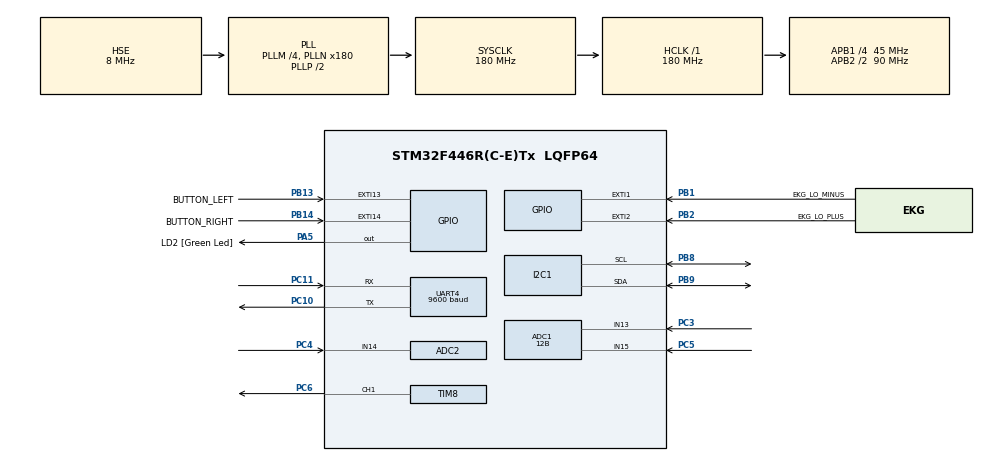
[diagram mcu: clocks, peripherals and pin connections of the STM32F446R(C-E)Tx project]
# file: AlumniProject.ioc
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ADC1.Channel-0\#ChannelRegularConversion=ADC_CHANNEL_15
ADC1.Channel-1\#ChannelRegularConversion=ADC_CHANNEL_13
ADC1.ClockPrescaler=ADC_CLOCK_SYNC_PCLK_DIV4
ADC1.ContinuousConvMode=DISABLE
ADC1.DMAContinuousRequests=ENABLE
ADC1.DataAlign=ADC_DATAALIGN_RIGHT
ADC1.DiscontinuousConvMode=DISABLE
ADC1.EOCSelection=ADC_EOC_SINGLE_CONV
ADC1.EnableAnalogWatchDog=false
ADC1.ExternalTrigConv=ADC_EXTERNALTRIGCONV_T8_TRGO
ADC1.ExternalTrigConvEdge=ADC_EXTERNALTRIGCONVEDGE_RISING
ADC1.InjNumberOfConversion=0
ADC1.NbrOfConversion=2
ADC1.NbrOfConversionFlag=1
ADC1.Rank-0\#ChannelRegularConversion=1
ADC1.Rank-1\#ChannelRegularConversion=2
ADC1.Resolution=ADC_RESOLUTION_12B
ADC1.SamplingTime-0\#ChannelRegularConversion=ADC_SAMPLETIME_3CYCLES
ADC1.SamplingTime-1\#ChannelRegularConversion=ADC_SAMPLETIME_3CYCLES
ADC1.ScanConvMode=ENABLE
ADC1.master=1
ADC2.Channel-8\#ChannelRegularConversion=ADC_CHANNEL_14
ADC2.ClockPrescaler=ADC_CLOCK_SYNC_PCLK_DIV4
ADC2.ContinuousConvMode=DISABLE
ADC2.DMAContinuousRequests=DISABLE
ADC2.DataAlign=ADC_DATAALIGN_RIGHT
ADC2.DiscontinuousConvMode=DISABLE
ADC2.EOCSelection=ADC_EOC_SINGLE_CONV
ADC2.EnableAnalogWatchDog=false
ADC2.ExternalTrigConv=ADC_SOFTWARE_START
ADC2.ExternalTrigConvEdge=ADC_EXTERNALTRIGCONVEDGE_NONE
ADC2.InjNumberOfConversion=0
ADC2.NbrOfConversion=1
ADC2.NbrOfConversionFlag=1
ADC2.Rank-8\#ChannelRegularConversion=1
ADC2.Resolution=ADC_RESOLUTION_12B
ADC2.SamplingTime-8\#ChannelRegularConversion=ADC_SAMPLETIME_3CYCLES
ADC2.ScanConvMode=DISABLE
Dma.ADC1.1.Direction=DMA_PERIPH_TO_MEMORY
Dma.ADC1.1.FIFOMode=DMA_FIFOMODE_DISABLE
Dma.ADC1.1.Instance=DMA2_Stream0
Dma.ADC1.1.MemDataAlignment=DMA_MDATAALIGN_HALFWORD
Dma.ADC1.1.MemInc=DMA_MINC_ENABLE
Dma.ADC1.1.Mode=DMA_CIRCULAR
Dma.ADC1.1.PeriphDataAlignment=DMA_PDATAALIGN_HALFWORD
Dma.ADC1.1.PeriphInc=DMA_PINC_DISABLE
Dma.ADC1.1.Priority=DMA_PRIORITY_LOW
Dma.Request0=UART4_RX
Dma.Request1=ADC1
Dma.UART4_RX.0.Direction=DMA_PERIPH_TO_MEMORY
Dma.UART4_RX.0.FIFOMode=DMA_FIFOMODE_DISABLE
Dma.UART4_RX.0.Instance=DMA1_Stream2
Dma.UART4_RX.0.MemDataAlignment=DMA_MDATAALIGN_BYTE
Dma.UART4_RX.0.MemInc=DMA_MINC_ENABLE
Dma.UART4_RX.0.Mode=DMA_CIRCULAR
Dma.UART4_RX.0.PeriphDataAlignment=DMA_PDATAALIGN_BYTE
Dma.UART4_RX.0.PeriphInc=DMA_PINC_DISABLE
Dma.UART4_RX.0.Priority=DMA_PRIORITY_LOW
FREERTOS.Mutexes01=sensorsMutex,Dynamic,NULL;appMutex,Dynamic,NULL
FREERTOS.Tasks01=displayTask,-2,512,StartDisplayTask,Default,NULL,Dynamic,NULL,NULL;sensorsTask,0,512,StartSensorsTask,Default,NULL,Dynamic,NULL,NULL;transmitTask,2,512,StartCommunicationTask,Default,NULL,Dynamic,NULL,NULL
I2C1.I2C_Mode=I2C_Fast
Mcu.Family=STM32F4
Mcu.Name=STM32F446R(C-E)Tx
Mcu.Package=LQFP64
NVIC.DMA1_Stream2_IRQn=true\:5\:0\:false\:false\:true\:true\:false
NVIC.DMA2_Stream0_IRQn=true\:5\:0\:false\:false\:true\:true\:false
NVIC.EXTI15_10_IRQn=true\:5\:0\:false\:false\:true\:true\:true
NVIC.EXTI1_IRQn=true\:5\:0\:false\:false\:true\:true\:true
NVIC.EXTI2_IRQn=true\:5\:0\:false\:false\:true\:true\:true
NVIC.PriorityGroup=NVIC_PRIORITYGROUP_4
NVIC.TIM6_DAC_IRQn=true\:0\:0\:false\:false\:true\:false\:false
NVIC.TIM8_CC_IRQn=true\:5\:0\:false\:false\:true\:true\:true
NVIC.TIM8_UP_TIM13_IRQn=true\:5\:0\:false\:false\:true\:true\:true
NVIC.TimeBase=TIM6_DAC_IRQn
NVIC.TimeBaseIP=TIM6
PA13.GPIO_Label=TMS
PA13.Mode=Serial_Wire
PA13.Signal=SYS_JTMS-SWDIO
PA14.GPIO_Label=TCK
PA14.Mode=Serial_Wire
PA14.Signal=SYS_JTCK-SWCLK
PA2.GPIO_Label=USART_TX
PA2.Signal=USART2_TX
PA3.GPIO_Label=USART_RX
PA3.Signal=USART2_RX
PA5.GPIO_Label=LD2 [Green Led]
PA5.Signal=GPIO_Output
PB1.GPIO_Label=EKG_LO_MINUS
PB1.Signal=GPXTI1
PB13.GPIO_Label=BUTTON_LEFT
PB13.GPIO_ModeDefaultEXTI=GPIO_MODE_IT_RISING
PB13.Signal=GPXTI13
PB14.GPIO_Label=BUTTON_RIGHT
PB14.GPIO_ModeDefaultEXTI=GPIO_MODE_IT_RISING
PB14.Signal=GPXTI14
PB2.GPIO_Label=EKG_LO_PLUS
PB2.Signal=GPXTI2
PB3.GPIO_Label=SWO
PB3.Signal=SYS_JTDO-SWO
PB8.Mode=I2C
PB8.Signal=I2C1_SCL
PB9.Mode=I2C
PB9.Signal=I2C1_SDA
PC10.Mode=Asynchronous
PC10.Signal=UART4_TX
PC11.Mode=Asynchronous
PC11.Signal=UART4_RX
PC14-OSC32_IN.Signal=RCC_OSC32_IN
PC15-OSC32_OUT.Signal=RCC_OSC32_OUT
PC3.Signal=ADCx_IN13
PC4.Signal=ADCx_IN14
PC5.Signal=ADCx_IN15
PC6.Signal=S_TIM8_CH1
PH0-OSC_IN.Mode=HSE-External-Clock-Source
PH0-OSC_IN.Signal=RCC_OSC_IN
PH1-OSC_OUT.Mode=HSE-External-Clock-Source
PH1-OSC_OUT.Signal=RCC_OSC_OUT
ProjectManager.HeapSize=0x200
ProjectManager.StackSize=0x400
ProjectManager.TargetToolchain=SW4STM32
RCC.48MHZClocksFreq_Value=84000000
RCC.AHBFreq_Value=180000000
RCC.APB1CLKDivider=RCC_HCLK_DIV4
RCC.APB1Freq_Value=45000000
RCC.APB1TimFreq_Value=90000000
RCC.APB2CLKDivider=RCC_HCLK_DIV2
RCC.APB2Freq_Value=90000000
RCC.APB2TimFreq_Value=180000000
RCC.CortexFreq_Value=180000000
RCC.FLatency-AdvancedSettings=FLASH_LATENCY_5
RCC.HCLKFreq_Value=180000000
RCC.HSE_VALUE=8000000
RCC.HSI_VALUE=16000000
RCC.PLLM=4
RCC.PLLN=180
RCC.PLLSourceVirtual=RCC_PLLSOURCE_HSE
RCC.SYSCLKFreq_VALUE=180000000
RCC.SYSCLKSource=RCC_SYSCLKSOURCE_PLLCLK
RCC.USBFreq_Value=180000000
RCC.VCOOutputFreq_Value=360000000
SH.ADCx_IN13.0=ADC1_IN13,IN13
SH.ADCx_IN14.0=ADC2_IN14,IN14
SH.ADCx_IN15.0=ADC1_IN15,IN15
SH.S_TIM8_CH1.0=TIM8_CH1,PWM Generation1 CH1
TIM8.Channel-PWM\ Generation1\ CH1=TIM_CHANNEL_1
TIM8.Period=10000 - 1
TIM8.Prescaler=180 - 1
TIM8.Pulse-PWM\ Generation1\ CH1=5000
TIM8.TIM_MasterOutputTrigger=TIM_TRGO_UPDATE
TIM8.TIM_MasterSlaveMode=TIM_MASTERSLAVEMODE_ENABLE
UART4.BaudRate=9600
UART4.VirtualMode=Asynchronous
VP_FREERTOS_VS_ENABLE.Mode=Enabled
VP_SYS_VS_tim6.Mode=TIM6
board=NUCLEO-F446RE

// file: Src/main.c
/**
  ******************************************************************************
  * @file           : main.c
  * @brief          : Main program body
  ******************************************************************************
  * This notice applies to any and all portions of this file
  * that are not between comment pairs USER CODE BEGIN and
  * USER CODE END. Other portions of this file, whether
  * inserted by the user or by software development tools
  * are owned by their respective copyright owners.
  *
  * Copyright (c) 2018 STMicroelectronics International N.V.
  * All rights reserved.
  *
  * Redistribution and use in source and binary forms, with or without
  * modification, are permitted, provided that the following conditions are met:
  *
  * 1. Redistribution of source code must retain the above copyright notice,
  *    this list of conditions and the following disclaimer.
  * 2. Redistributions in binary form must reproduce the above copyright notice,
  *    this list of conditions and the following disclaimer in the documentation
  *    and/or other materials provided with the distribution.
  * 3. Neither the name of STMicroelectronics nor the names of other
  *    contributors to this software may be used to endorse or promote products
  *    derived from this software without specific written permission.
  * 4. This software, including modifications and/or derivative works of this
  *    software, must execute solely and exclusively on microcontroller or
  *    microprocessor devices manufactured by or for STMicroelectronics.
  * 5. Redistribution and use of this software other than as permitted under
  *    this license is void and will automatically terminate your rights under
  *    this license.
  *
  * THIS SOFTWARE IS PROVIDED BY STMICROELECTRONICS AND CONTRIBUTORS "AS IS"
  * AND ANY EXPRESS, IMPLIED OR STATUTORY WARRANTIES, INCLUDING, BUT NOT
  * LIMITED TO, THE IMPLIED WARRANTIES OF MERCHANTABILITY, FITNESS FOR A
  * PARTICULAR PURPOSE AND NON-INFRINGEMENT OF THIRD PARTY INTELLECTUAL PROPERTY
  * RIGHTS ARE DISCLAIMED TO THE FULLEST EXTENT PERMITTED BY LAW. IN NO EVENT
  * SHALL STMICROELECTRONICS OR CONTRIBUTORS BE LIABLE FOR ANY DIRECT, INDIRECT,
  * INCIDENTAL, SPECIAL, EXEMPLARY, OR CONSEQUENTIAL DAMAGES (INCLUDING, BUT NOT
  * LIMITED TO, PROCUREMENT OF SUBSTITUTE GOODS OR SERVICES; LOSS OF USE, DATA,
  * OR PROFITS; OR BUSINESS INTERRUPTION) HOWEVER CAUSED AND ON ANY THEORY OF
  * LIABILITY, WHETHER IN CONTRACT, STRICT LIABILITY, OR TORT (INCLUDING
  * NEGLIGENCE OR OTHERWISE) ARISING IN ANY WAY OUT OF THE USE OF THIS SOFTWARE,
  * EVEN IF ADVISED OF THE POSSIBILITY OF SUCH DAMAGE.
  *
  ******************************************************************************
  */
#include "main.h"
#include "stm32f4xx_hal.h"
#include "cmsis_os.h"
#include "adc.h"
#include "dma.h"
#include "i2c.h"
#include "tim.h"
#include "usart.h"
#include "gpio.h"

/* USER CODE BEGIN PV */
/* Private variables ---------------------------------------------------------*/

/* USER CODE END PV */

void SystemClock_Config(void);
void MX_FREERTOS_Init(void);

/* USER CODE BEGIN PFP */
/* Private function prototypes -----------------------------------------------*/

/* USER CODE END PFP */

int main(void)
{

  /* MCU Configuration----------------------------------------------------------*/

  /* Reset of all peripherals, Initializes the Flash interface and the Systick. */
  HAL_Init();

  /* Configure the system clock */
  SystemClock_Config();

  /* Initialize all configured peripherals */
  MX_GPIO_Init();
  MX_DMA_Init();
  MX_UART4_Init();
  MX_I2C1_Init();
  MX_ADC1_Init();
  MX_TIM8_Init();
  MX_ADC2_Init();

  /* Call init function for freertos objects (in freertos.c) */
  MX_FREERTOS_Init();

  /* Start scheduler */
  osKernelStart();

  /* We should never get here as control is now taken by the scheduler */

  /* Infinite loop */
  while (1)
  {

  }

}

void SystemClock_Config(void)
{

  RCC_OscInitTypeDef RCC_OscInitStruct;
  RCC_ClkInitTypeDef RCC_ClkInitStruct;

    /**Configure the main internal regulator output voltage
    */
  __HAL_RCC_PWR_CLK_ENABLE();

  __HAL_PWR_VOLTAGESCALING_CONFIG(PWR_REGULATOR_VOLTAGE_SCALE1);

    /**Initializes the CPU, AHB and APB busses clocks
    */
  RCC_OscInitStruct.OscillatorType = RCC_OSCILLATORTYPE_HSE;
  RCC_OscInitStruct.HSEState = RCC_HSE_BYPASS;
  RCC_OscInitStruct.PLL.PLLState = RCC_PLL_ON;
  RCC_OscInitStruct.PLL.PLLSource = RCC_PLLSOURCE_HSE;
  RCC_OscInitStruct.PLL.PLLM = 4;
  RCC_OscInitStruct.PLL.PLLN = 180;
  RCC_OscInitStruct.PLL.PLLP = RCC_PLLP_DIV2;
  RCC_OscInitStruct.PLL.PLLQ = 2;
  RCC_OscInitStruct.PLL.PLLR = 2;
  if (HAL_RCC_OscConfig(&RCC_OscInitStruct) != HAL_OK)
  {
    _Error_Handler(__FILE__, __LINE__);
  }

    /**Activate the Over-Drive mode
    */
  if (HAL_PWREx_EnableOverDrive() != HAL_OK)
  {
    _Error_Handler(__FILE__, __LINE__);
  }

    /**Initializes the CPU, AHB and APB busses clocks
    */
  RCC_ClkInitStruct.ClockType = RCC_CLOCKTYPE_HCLK|RCC_CLOCKTYPE_SYSCLK
                              |RCC_CLOCKTYPE_PCLK1|RCC_CLOCKTYPE_PCLK2;
  RCC_ClkInitStruct.SYSCLKSource = RCC_SYSCLKSOURCE_PLLCLK;
  RCC_ClkInitStruct.AHBCLKDivider = RCC_SYSCLK_DIV1;
  RCC_ClkInitStruct.APB1CLKDivider = RCC_HCLK_DIV4;
  RCC_ClkInitStruct.APB2CLKDivider = RCC_HCLK_DIV2;

  if (HAL_RCC_ClockConfig(&RCC_ClkInitStruct, FLASH_LATENCY_5) != HAL_OK)
  {
    _Error_Handler(__FILE__, __LINE__);
  }

    /**Configure the Systick interrupt time
    */
  HAL_SYSTICK_Config(HAL_RCC_GetHCLKFreq()/1000);

    /**Configure the Systick
    */
  HAL_SYSTICK_CLKSourceConfig(SYSTICK_CLKSOURCE_HCLK);

  /* SysTick_IRQn interrupt configuration */
  HAL_NVIC_SetPriority(SysTick_IRQn, 15, 0);
}

void HAL_TIM_PeriodElapsedCallback(TIM_HandleTypeDef *htim)
{
  if (htim->Instance == TIM6) {
    HAL_IncTick();
  }
}

void _Error_Handler(char *file, int line)
{
  while(1)
  {
  }
}

/************************ (C) COPYRIGHT STMicroelectronics *****END OF FILE****/

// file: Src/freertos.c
/**
  ******************************************************************************
  * File Name          : freertos.c
  * Description        : Code for freertos applications
  ******************************************************************************
  * This notice applies to any and all portions of this file
  * that are not between comment pairs USER CODE BEGIN and
  * USER CODE END. Other portions of this file, whether
  * inserted by the user or by software development tools
  * are owned by their respective copyright owners.
  *
  * Copyright (c) 2018 STMicroelectronics International N.V.
  * All rights reserved.
  *
  * Redistribution and use in source and binary forms, with or without
  * modification, are permitted, provided that the following conditions are met:
  *
  * 1. Redistribution of source code must retain the above copyright notice,
  *    this list of conditions and the following disclaimer.
  * 2. Redistributions in binary form must reproduce the above copyright notice,
  *    this list of conditions and the following disclaimer in the documentation
  *    and/or other materials provided with the distribution.
  * 3. Neither the name of STMicroelectronics nor the names of other
  *    contributors to this software may be used to endorse or promote products
  *    derived from this software without specific written permission.
  * 4. This software, including modifications and/or derivative works of this
  *    software, must execute solely and exclusively on microcontroller or
  *    microprocessor devices manufactured by or for STMicroelectronics.
  * 5. Redistribution and use of this software other than as permitted under
  *    this license is void and will automatically terminate your rights under
  *    this license.
  *
  * THIS SOFTWARE IS PROVIDED BY STMICROELECTRONICS AND CONTRIBUTORS "AS IS"
  * AND ANY EXPRESS, IMPLIED OR STATUTORY WARRANTIES, INCLUDING, BUT NOT
  * LIMITED TO, THE IMPLIED WARRANTIES OF MERCHANTABILITY, FITNESS FOR A
  * PARTICULAR PURPOSE AND NON-INFRINGEMENT OF THIRD PARTY INTELLECTUAL PROPERTY
  * RIGHTS ARE DISCLAIMED TO THE FULLEST EXTENT PERMITTED BY LAW. IN NO EVENT
  * SHALL STMICROELECTRONICS OR CONTRIBUTORS BE LIABLE FOR ANY DIRECT, INDIRECT,
  * INCIDENTAL, SPECIAL, EXEMPLARY, OR CONSEQUENTIAL DAMAGES (INCLUDING, BUT NOT
  * LIMITED TO, PROCUREMENT OF SUBSTITUTE GOODS OR SERVICES; LOSS OF USE, DATA,
  * OR PROFITS; OR BUSINESS INTERRUPTION) HOWEVER CAUSED AND ON ANY THEORY OF
  * LIABILITY, WHETHER IN CONTRACT, STRICT LIABILITY, OR TORT (INCLUDING
  * NEGLIGENCE OR OTHERWISE) ARISING IN ANY WAY OUT OF THE USE OF THIS SOFTWARE,
  * EVEN IF ADVISED OF THE POSSIBILITY OF SUCH DAMAGE.
  *
  ******************************************************************************
  */

#include "FreeRTOS.h"
#include "task.h"
#include "cmsis_os.h"

/* USER CODE BEGIN Includes */
#include <3Dbox.h>
#include <cmsis_os.h>
#include <eMPL/inv_mpu.h>
#include <i2c.h>
#include <lcd.h>
#include <mpu_drv.h>
#include <MadgwickAHRS.h>
#include <ringbuffer_dma.h>
#include <stddef.h>
#include <stm32f4xx_hal.h>
#include <stm32f4xx_hal_uart.h>
#include <sys/_stdint.h>
#include <usart.h>

#include "app.h"
/* USER CODE END Includes */

osThreadId displayTaskHandle;
osThreadId sensorsTaskHandle;
osThreadId transmitTaskHandle;
osMutexId sensorsMutexHandle;
osMutexId appMutexHandle;

/* USER CODE BEGIN Variables */

osMailQId mailYPRHandle;
osMailQId mailCMDHandle;

/*
 char cmd[16];
 uint8_t cmd_index;
 char cmd_params[128];
 uint8_t is_cmd_params;
 uint8_t cmd_params_index;
 */

/* USER CODE END Variables */

void StartDisplayTask(void const * argument);
void StartSensorsTask(void const * argument);
void StartCommunicationTask(void const * argument);

void MX_FREERTOS_Init(void); /* (MISRA C 2004 rule 8.1) */

/* Hook prototypes */

/* Init FreeRTOS */

void MX_FREERTOS_Init(void) {
  /* USER CODE BEGIN Init */

    App_Init(&huart4, &hadc2, &hi2c1);

  /* USER CODE END Init */

  /* Create the mutex(es) */
  /* definition and creation of sensorsMutex */
  osMutexDef(sensorsMutex);
  sensorsMutexHandle = osMutexCreate(osMutex(sensorsMutex));

  /* definition and creation of appMutex */
  osMutexDef(appMutex);
  appMutexHandle = osMutexCreate(osMutex(appMutex));

  /* Create the thread(s) */
  /* definition and creation of displayTask */
  osThreadDef(displayTask, StartDisplayTask, osPriorityLow, 0, 512);
  displayTaskHandle = osThreadCreate(osThread(displayTask), NULL);

  /* definition and creation of sensorsTask */
  osThreadDef(sensorsTask, StartSensorsTask, osPriorityNormal, 0, 512);
  sensorsTaskHandle = osThreadCreate(osThread(sensorsTask), NULL);

  /* definition and creation of transmitTask */
  osThreadDef(transmitTask, StartCommunicationTask, osPriorityHigh, 0, 512);
  transmitTaskHandle = osThreadCreate(osThread(transmitTask), NULL);

  /* USER CODE BEGIN RTOS_QUEUES */
    /* add queues, ... */
    osMailQDef(mailState, 16, APP_StateTypeDef);
    app.statesQueueHandle = osMailCreate(osMailQ(mailState), NULL);

    osMailQDef(mailMotion, 16, APP_MotionTypeDef);
    motion_data.queueHandle = osMailCreate(osMailQ(mailMotion), NULL);

    App_State("menu");
  /* USER CODE END RTOS_QUEUES */
}

/* StartDisplayTask function */
void StartDisplayTask(void const * argument)
{

  /* USER CODE BEGIN StartDisplayTask */
    /* Infinite loop */
    osEvent evt;
    osStatus status;
    APP_StateTypeDef* state;

    for (;;) {

        evt = osMailGet(app.statesQueueHandle, 10);
        if (evt.status == osEventMail) {
            /* Obtain data from mail */
            state = (APP_StateTypeDef *) evt.value.p;
            /* Free the cell in mail queue */
            osMailFree(mailYPRHandle, state);

            status = osMutexWait(appMutexHandle, osWaitForever);
            if (status == osOK) {
                LCD_FillScreen(BLACK);
                app.state = state;
                osMutexRelease(appMutexHandle);
            }

        }

        if (app.state != NULL && app.state->isUpdate) {
            status = osMutexWait(appMutexHandle, osWaitForever);
            if (status == osOK) {
                app.state->displayHandle(app.state->name);
                app.state->isUpdate = 0;
                osMutexRelease(appMutexHandle);
            }
        }

        osDelay(10);
    }
  /* USER CODE END StartDisplayTask */
}

/* StartSensorsTask function */
void StartSensorsTask(void const * argument)
{
  /* USER CODE BEGIN StartSensorsTask */
    osStatus status;
    /* Infinite loop */

    for (;;) {

        status = osMutexWait(sensorsMutexHandle, osWaitForever);
        if (status == osOK) {

            if (app.state != NULL && app.state->dataHandle != NULL) {
                app.state->dataHandle(app.state->name);
            }

            osMutexRelease(sensorsMutexHandle);
        }

        osDelay(20);
    }
  /* USER CODE END StartSensorsTask */
}

/* StartCommunicationTask function */
void StartCommunicationTask(void const * argument)
{
  /* USER CODE BEGIN StartCommunicationTask */
    /* Infinite loop */

    /* Infinite loop */
    for (;;) {
        App_OnReadRemoteCommand();
        osDelay(60);
    }
  /* USER CODE END StartCommunicationTask */
}

/************************ (C) COPYRIGHT STMicroelectronics *****END OF FILE****/
